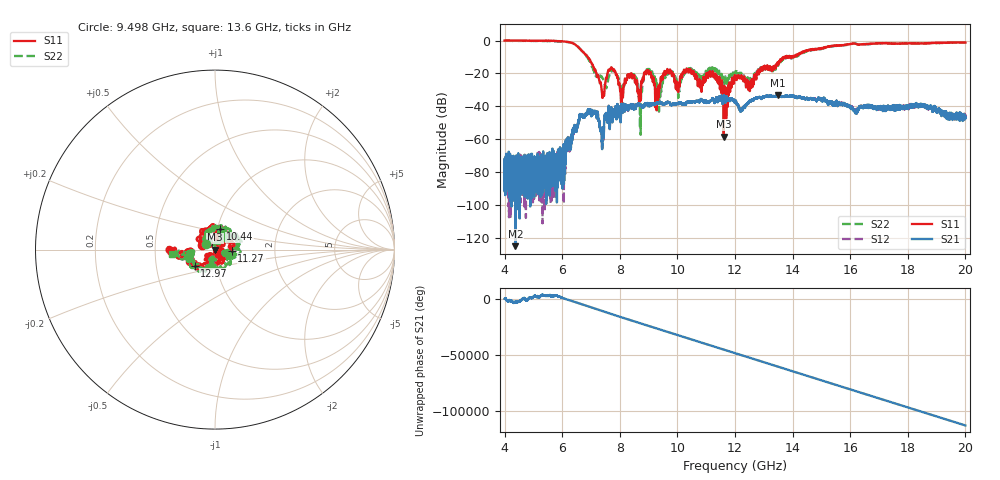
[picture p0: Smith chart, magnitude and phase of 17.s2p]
[Version] 2.0
! Rohde & Schwarz Vector Network Analyzer
! Rohde-Schwarz,ZNL20-2Port,1323001220200009,1.71.1.10-23.02.1.238
! Port Assignments:
! Nominal Port -> Actual Test Port
!  1 -> 1
!  2 -> 2
! Created: GMT+2 2025-01-17 12:12:17
# Hz S RI R 50
[Number of Ports] 2
[Two-Port Data Order] 21_12
! freq[Hz]  S11[Re]  S11[Im]  S21[Re]  S21[Im]  S12[Re]  S12[Im]  S22[Re]  S22[Im]
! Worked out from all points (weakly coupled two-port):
!   16001 points, 4 GHz to 20 GHz, reference 50 ohm
!   highest |S21| = -33.08 dB at 13.5 GHz (marker M1); lowest = -125.2 dB at 4.378 GHz (marker M2)
!   lowest |S11| = -58.4 dB at 11.61 GHz (marker M3), VSWR 1.00, Z = 50 - j0.12 ohm
!   |S11| at or under -10 dB: 6.885 GHz to 13.7 GHz (6.816 GHz wide, 66.2 % of centre); 13.71222 GHz to 13.74192 GHz (29.7 MHz wide, 0.216 % of centre); 13.94221 GHz to 13.96577 GHz (23.56 MHz wide, 0.169 % of centre) (the widest 3 of 9)
!   |S22| runs from -57.3 to 0.0 dB; largest |S21 - S12| = 0.0027
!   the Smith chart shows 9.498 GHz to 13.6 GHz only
!   S11 on the Smith chart (normalised r, x): 9.498 GHz: 0.87, +0.04; 10.44 GHz: 1.03, +0.24; 11.27 GHz: 1.21, -0.02; 12.97 GHz: 0.78, -0.14; 13.6 GHz: 0.61, -0.01
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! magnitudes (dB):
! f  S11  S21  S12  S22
! 4 GHz  0.0  -79.7  -84.8  -0.2
! 4.378 GHz  0.0  -125.2  -81.8  -0.2
! 5.78 GHz  -0.2  -74.9  -75.5  -0.4
! 6.667 GHz  -6.0  -45.7  -45.0  -6.1
! 7.411 GHz  -33.3  -53.1  -54.1  -23.1
! 7.724 GHz  -16.8  -43.6  -43.8  -18.8
! 8.048 GHz  -40.0  -40.6  -40.8  -32.5
! 8.429 GHz  -22.9  -40.9  -40.9  -21.5
! 8.715 GHz  -35.0  -39.2  -39.1  -38.9
! 9.004 GHz  -20.4  -38.5  -38.5  -18.7
! 9.334 GHz  -27.8  -38.0  -38.0  -31.1
! 9.498 GHz  -22.6  -38.7  -38.9  -24.5
! 10.44 GHz  -18.6  -37.4  -37.6  -17.8
! 11.27 GHz  -20.5  -37.3  -37.0  -18.0
! 11.61 GHz  -58.4  -33.4  -33.3  -25.2
! 12 GHz  -22.3  -37.7  -37.8  -19.6
! 12.97 GHz  -16.8  -34.3  -34.5  -15.9
! 13.5 GHz  -14.5  -33.1  -33.2  -15.3
! 13.6 GHz  -12.2  -33.9  -33.8  -12.3
! 14.67 GHz  -5.4  -35.6  -35.2  -5.9
! 17.33 GHz  -1.8  -41.3  -41.1  -1.8
! 20 GHz  -1.2  -47.1  -47.4  -1.2
